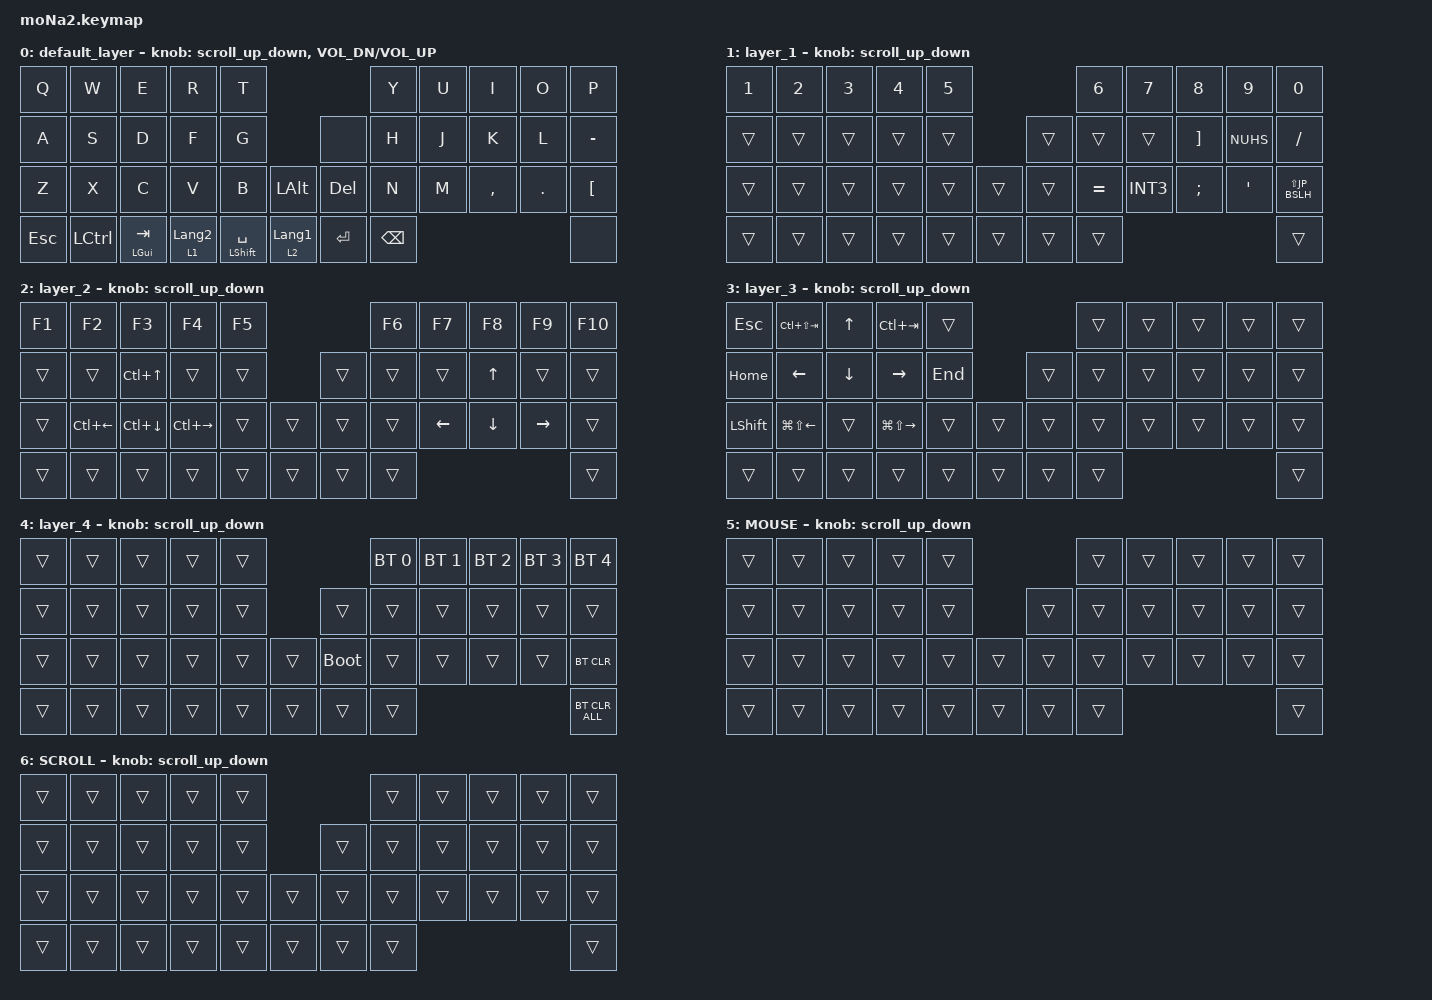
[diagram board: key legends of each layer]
#include <behaviors.dtsi>
#include <dt-bindings/zmk/bt.h>
#include <dt-bindings/zmk/keys.h>
#include <dt-bindings/zmk/pointing.h>

#define ZMK_POINTING_DEFAULT_SCRL_VAL 100
#define MOUSE 5
#define SCROLL 6
#define JP_ZKHK GRAVE
#define JP_MINUS MINUS
#define JP_CARET EQUAL
#define JP_YEN INT3
#define JP_AT LBKT
#define JP_LBKT RBKT
#define JP_EISU CAPS
#define JP_SEMI SEMI
#define JP_COLON SQT
#define JP_RBKT NUHS
#define JP_COMMA COMMA
#define JP_DOT DOT
#define JP_SLASH SLASH
#define JP_BSLH INT1
#define JP_MHEN INT5
#define JP_HENK INT4
#define JP_KANA INT2
#define JP_EXCL LS(N1)
#define JP_DQT LS(N2)
#define JP_HASH LS(N3)
#define JP_DLLR LS(N4)
#define JP_PRCNT LS(N5)
#define JP_AMPS LS(N6)
#define JP_SQT LS(N7)
#define JP_LPAR LS(N8)
#define JP_RPAR LS(N9)
#define JP_EQUAL LS(JP_MINUS)
#define JP_TILDE LS(JP_CARET)
#define JP_PIPE LS(JP_YEN)
#define JP_GRAVE LS(JP_AT)
#define JP_LBRC LS(JP_LBKT)
#define JP_CAPS LS(JP_EISU)
#define JP_PLUS LS(JP_SEMI)
#define JP_ASTRK LS(JP_COLON)
#define JP_RBRC LS(JP_RBKT)
#define JP_LT LS(JP_COMMA)
#define JP_RT LS(JP_DOT)
#define JP_QMARK LS(JP_SLASH)
#define JP_UNDER LS(JP_BSLH)

&mt {
    flavor = "balanced";
    quick-tap-ms = <0>;
};

&sl { release-after-ms = <0>; };

/ {
    combos {
        compatible = "zmk,combos";

        LClick {
            bindings = <&macro_lclk>;
            key-positions = <17 18>;
        };

        RClick {
            bindings = <&macro_rclk>;
            key-positions = <18 19>;
        };

        gotoScrollLayer {
            bindings = <&sl 6>;
            key-positions = <20 19>;
        };
    };

    macros {
        macro_lclk: macro_lclk {
            compatible = "zmk,behavior-macro";
            #binding-cells = <0>;
            bindings =
                <&macro_press>,
                <&mkp LCLK>,
                <&macro_tap>,
                <&kp K_CANCEL>,
                <&macro_pause_for_release>,
                <&macro_release>,
                <&mkp LCLK>;
        };

        macro_rclk: macro_rclk {
            compatible = "zmk,behavior-macro";
            #binding-cells = <0>;
            bindings =
                <&macro_press>,
                <&mkp RCLK>,
                <&macro_tap>,
                <&kp K_CANCEL>,
                <&macro_pause_for_release>,
                <&macro_release>,
                <&mkp RCLK>;
        };

        to_layer_0: to_layer_0 {
            compatible = "zmk,behavior-macro-one-param";
            #binding-cells = <1>;
            bindings = <&to 0 &macro_param_1to1 &kp MACRO_PLACEHOLDER>;
            label = "TO_LAYER_0";
        };
    };

    behaviors {
        lt_to_layer_0: lt_to_layer_0 {
            compatible = "zmk,behavior-hold-tap";
            label = "LAYER_TAP_TO_0";
            bindings = <&mo>, <&to_layer_0>;

            #binding-cells = <2>;
            tapping-term-ms = <200>;
        };

        scroll_up_down: behavior_sensor_rotate_mouse_wheel_up_down {
            compatible = "zmk,behavior-sensor-rotate";
            #sensor-binding-cells = <0>;
            bindings = <&msc SCRL_UP>, <&msc SCRL_DOWN>;

            tap-ms = <20>;
        };
    };

    keymap {
        compatible = "zmk,keymap";

        default_layer {
            bindings = <
&kp Q       &kp W      &kp E             &kp R             &kp T                                                 &kp Y          &kp U  &kp I         &kp O       &kp P
&kp A       &kp S      &kp D             &kp F             &kp G                                     &none       &kp H          &kp J  &kp K         &kp L       &kp JP_MINUS
&kp Z       &kp X      &kp C             &kp V             &kp B                 &kp LEFT_ALT        &kp DELETE  &kp N          &kp M  &kp JP_COMMA  &kp JP_DOT  &kp JP_AT
&kp ESCAPE  &kp LCTRL  &mt LEFT_GUI TAB  &lt 1 LANGUAGE_2  &mt LEFT_SHIFT SPACE  &lt 2 LANGUAGE_1    &kp ENTER   &kp BACKSPACE                                   &none
            >;

            sensor-bindings =
                <&scroll_up_down>,
                <&inc_dec_kp C_VOL_DN C_VOL_UP>;
        };

        layer_1 {
            bindings = <
&kp N1  &kp N2  &kp N3  &kp N4  &kp N5                    &kp N6        &kp N7      &kp N8       &kp N9        &kp N0
&trans  &trans  &trans  &trans  &trans            &trans  &trans        &trans      &kp JP_LBKT  &kp JP_RBKT   &kp JP_SLASH
&trans  &trans  &trans  &trans  &trans  &trans    &trans  &kp JP_CARET  &kp JP_YEN  &kp JP_SEMI  &kp JP_COLON  &kp JP_UNDER
&trans  &trans  &trans  &trans  &trans  &trans    &trans  &trans                                               &trans
            >;

            sensor-bindings = <&scroll_up_down>;
        };

        layer_2 {
            bindings = <
&kp F1  &kp F2        &kp F3              &kp F4         &kp F5                    &kp F6  &kp F7    &kp F8    &kp F9     &kp F10
&trans  &trans        &kp LC(UP_ARROW)    &trans         &trans            &trans  &trans  &trans    &kp UP    &trans     &trans
&trans  &kp LC(LEFT)  &kp LC(DOWN_ARROW)  &kp LC(RIGHT)  &trans  &trans    &trans  &trans  &kp LEFT  &kp DOWN  &kp RIGHT  &trans
&trans  &trans        &trans              &trans         &trans  &trans    &trans  &trans                                 &trans
            >;

            sensor-bindings = <&scroll_up_down>;
        };

        layer_3 {
            bindings = <
&kp ESCAPE      &kp LC(LS(TAB))         &kp UP_ARROW    &kp LC(TAB)              &trans                     &trans  &trans  &trans  &trans  &trans
&kp HOME        &kp LEFT_ARROW          &kp DOWN_ARROW  &kp RIGHT_ARROW          &kp END            &trans  &trans  &trans  &trans  &trans  &trans
&kp LEFT_SHIFT  &kp LG(LS(LEFT_ARROW))  &trans          &kp LG(LS(RIGHT_ARROW))  &trans   &trans    &trans  &trans  &trans  &trans  &trans  &trans
&trans          &trans                  &trans          &trans                   &trans   &trans    &trans  &trans                          &trans
            >;

            sensor-bindings = <&scroll_up_down>;
        };

        layer_4 {
            bindings = <
&trans  &trans  &trans  &trans  &trans                         &bt BT_SEL 0  &bt BT_SEL 1  &bt BT_SEL 2  &bt BT_SEL 3  &bt BT_SEL 4
&trans  &trans  &trans  &trans  &trans            &trans       &trans        &trans        &trans        &trans        &trans
&trans  &trans  &trans  &trans  &trans  &trans    &bootloader  &trans        &trans        &trans        &trans        &bt BT_CLR
&trans  &trans  &trans  &trans  &trans  &trans    &trans       &trans                                                  &bt BT_CLR_ALL
            >;

            sensor-bindings = <&scroll_up_down>;
        };

        MOUSE {
            bindings = <
&trans  &trans  &trans  &trans  &trans                    &trans  &trans  &trans  &trans  &trans
&trans  &trans  &trans  &trans  &trans            &trans  &trans  &trans  &trans  &trans  &trans
&trans  &trans  &trans  &trans  &trans  &trans    &trans  &trans  &trans  &trans  &trans  &trans
&trans  &trans  &trans  &trans  &trans  &trans    &trans  &trans                          &trans
            >;

            sensor-bindings = <&scroll_up_down>;
        };

        SCROLL {
            bindings = <
&trans  &trans  &trans  &trans  &trans                    &trans  &trans  &trans  &trans  &trans
&trans  &trans  &trans  &trans  &trans            &trans  &trans  &trans  &trans  &trans  &trans
&trans  &trans  &trans  &trans  &trans  &trans    &trans  &trans  &trans  &trans  &trans  &trans
&trans  &trans  &trans  &trans  &trans  &trans    &trans  &trans                          &trans
            >;

            sensor-bindings = <&scroll_up_down>;
        };
    };
};
